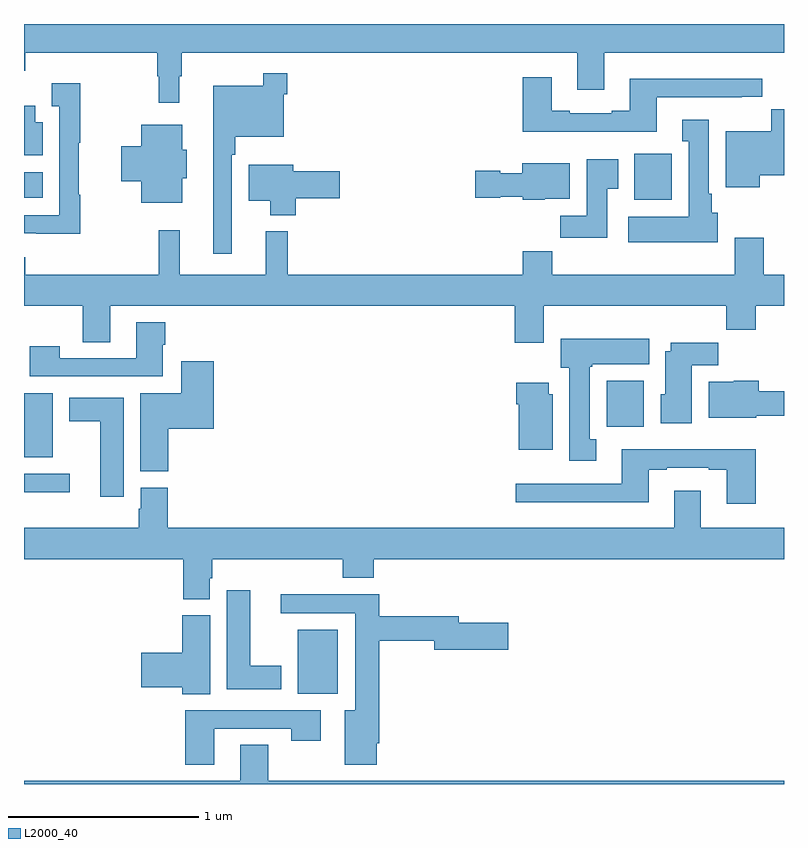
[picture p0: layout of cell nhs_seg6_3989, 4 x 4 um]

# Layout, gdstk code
import gdstk
lib = gdstk.Library(unit=1e-6, precision=1e-09)
def R(c, l, rs):  # rectangles x0, y0, x1, y1
    for r in rs: c.add(gdstk.rectangle(r[:2], r[2:], *l))
def P(c, l, *ps):  # polygons
    for p in ps: c.add(gdstk.Polygon(p, *l))
L2000_40 = (2000, 40)

nhs_seg6_3989 = lib.new_cell('nhs_seg6_3989')
R(nhs_seg6_3989, L2000_40, [(348.44,931.976,348.652,932.311), (347,933.035,347.242,933.132), (347,933.221,347.152,933.556), (350.066,933.38,350.263,933.622), (350.213,934.574,350.41,934.816), (347,934.586,347.098,934.72)])
P(nhs_seg6_3989, L2000_40, [(347,935.253),(347.006,935.253),(347.006,935.348),(347.701,935.348),(347.701,935.225),(347.709,935.225),(347.709,935.085),(347.818,935.085),(347.818,935.225),(347.83,935.225),(347.83,935.348),(349.913,935.348),(349.913,935.154),(350.053,935.154),(350.053,935.348),(351,935.348),(351,935.5),(347,935.5)],
  [(348.093,934.811),(348.113,934.811),(348.113,934.907),(348.366,934.907),(348.366,935.129),(348.386,935.129),(348.386,935.242),(348.258,935.242),(348.258,935.176),(347.996,935.176),(347.996,934.29),(348.093,934.29)],
  [(350.329,935.115),(350.777,935.115),(350.777,935.117),(350.886,935.117),(350.886,935.212),(350.189,935.212),(350.189,935.044),(350.093,935.044),(350.093,935.031),(349.873,935.031),(349.873,935.044),(349.777,935.044),(349.777,935.221),(349.625,935.221),(349.625,934.934),(350.329,934.934)],
  [(347.297,934.601),(347.287,934.601),(347.287,934.875),(347.297,934.875),(347.297,935.188),(347.147,935.188),(347.147,935.067),(347.186,935.067),(347.186,934.494),(347,934.494),(347,934.398),(347.064,934.398),(347.064,934.397),(347.297,934.397)],
  [(347.098,934.984),(347.059,934.984),(347.059,935.071),(347,935.071),(347,934.808),(347.098,934.808)],
  [(350.872,934.703),(351,934.703),(351,935.052),(350.933,935.052),(350.933,934.936),(350.693,934.936),(350.693,934.64),(350.872,934.64)],
  [(350.65,934.506),(350.62,934.506),(350.62,934.606),(350.605,934.606),(350.605,934.996),(350.465,934.996),(350.465,934.883),(350.498,934.883),(350.498,934.486),(350.181,934.486),(350.181,934.352),(350.65,934.352)],
  [(347.833,934.689),(347.857,934.689),(347.857,934.839),(347.833,934.839),(347.833,934.969),(347.618,934.969),(347.618,934.856),(347.513,934.856),(347.513,934.673),(347.618,934.673),(347.618,934.559),(347.833,934.559)],
  [(350.071,934.633),(350.128,934.633),(350.128,934.789),(349.961,934.789),(349.961,934.492),(349.822,934.492),(349.822,934.374),(350.071,934.374)],
  [(349.74,934.58),(349.873,934.58),(349.873,934.768),(349.622,934.768),(349.622,934.714),(349.506,934.714),(349.506,934.727),(349.374,934.727),(349.374,934.585),(349.506,934.585),(349.506,934.592),(349.626,934.592),(349.626,934.574),(349.74,934.574)],
  [(348.431,934.582),(348.661,934.582),(348.661,934.724),(348.418,934.724),(348.418,934.759),(348.182,934.759),(348.182,934.571),(348.296,934.571),(348.296,934.493),(348.431,934.493)],
  [(349.735,934.016),(350.695,934.016),(350.695,933.892),(350.852,933.892),(350.852,934.016),(351,934.016),(351,934.18),(350.894,934.18),(350.894,934.375),(350.741,934.375),(350.741,934.18),(349.781,934.18),(349.781,934.304),(349.625,934.304),(349.625,934.18),(348.389,934.18),(348.389,934.408),(348.272,934.408),(348.272,934.18),(347.819,934.18),(347.819,934.414),(347.709,934.414),(347.709,934.18),(347.006,934.18),(347.006,934.273),(347,934.273),(347,934.016),(347.308,934.016),(347.308,933.826),(347.455,933.826),(347.455,934.016),(349.583,934.016),(349.583,933.822),(349.735,933.822)],
  [(347.731,933.811),(347.744,933.811),(347.744,933.931),(347.591,933.931),(347.591,933.741),(347.187,933.741),(347.187,933.805),(347.031,933.805),(347.031,933.645),(347.731,933.645)],
  [(350.011,933.314),(349.978,933.314),(349.978,933.697),(349.992,933.697),(349.992,933.71),(350.29,933.71),(350.29,933.844),(349.826,933.844),(349.826,933.69),(349.871,933.69),(349.871,933.201),(350.011,933.201)],
  [(350.515,933.704),(350.654,933.704),(350.654,933.823),(350.405,933.823),(350.405,933.778),(350.375,933.778),(350.375,933.552),(350.351,933.552),(350.351,933.398),(350.515,933.398)],
  [(347.759,933.371),(347.999,933.371),(347.999,933.724),(347.828,933.724),(347.828,933.556),(347.612,933.556),(347.612,933.145),(347.759,933.145)],
  [(350.854,933.439),(351,933.439),(351,933.568),(350.867,933.568),(350.867,933.622),(350.736,933.622),(350.736,933.616),(350.603,933.616),(350.603,933.428),(350.854,933.428)],
  [(349.783,933.552),(349.762,933.552),(349.762,933.613),(349.592,933.613),(349.592,933.5),(349.604,933.5),(349.604,933.26),(349.783,933.26)],
  [(347.524,933.532),(347.237,933.532),(347.237,933.41),(347.402,933.41),(347.402,933.012),(347.524,933.012)],
  [(350.852,933.262),(350.147,933.262),(350.147,933.081),(349.587,933.081),(349.587,932.984),(350.287,932.984),(350.287,933.153),(350.383,933.153),(350.383,933.165),(350.603,933.165),(350.603,933.153),(350.699,933.153),(350.699,932.976),(350.852,932.976)],
  [(347.977,932.583),(347.99,932.583),(347.99,932.684),(348.677,932.684),(348.677,932.585),(348.842,932.585),(348.842,932.684),(351,932.684),(351,932.848),(350.563,932.848),(350.563,933.043),(350.423,933.043),(350.423,932.848),(347.756,932.848),(347.756,933.06),(347.615,933.06),(347.615,932.949),(347.603,932.949),(347.603,932.848),(347,932.848),(347,932.684),(347.837,932.684),(347.837,932.473),(347.977,932.473)],
  [(348.355,932.122),(348.19,932.122),(348.19,932.521),(348.068,932.521),(348.068,932),(348.355,932)],
  [(348.856,931.714),(348.869,931.714),(348.869,932.254),(349.16,932.254),(349.16,932.207),(349.549,932.207),(349.549,932.349),(349.288,932.349),(349.288,932.383),(348.869,932.383),(348.869,932.498),(348.351,932.498),(348.351,932.4),(348.743,932.4),(348.743,931.888),(348.689,931.888),(348.689,931.602),(348.856,931.602)],
  [(347.98,932.388),(347.834,932.388),(347.834,932.192),(347.616,932.192),(347.616,932.009),(347.834,932.009),(347.834,931.972),(347.98,931.972)],
  [(348.001,931.791),(348.406,931.791),(348.406,931.728),(348.562,931.728),(348.562,931.887),(347.849,931.887),(347.849,931.602),(348.001,931.602)],
  [(351,931.516),(348.285,931.516),(348.285,931.706),(348.137,931.706),(348.137,931.516),(347,931.516),(347,931.5),(351,931.5)])

lib.write_gds('nhs_seg6_3989.gds')
